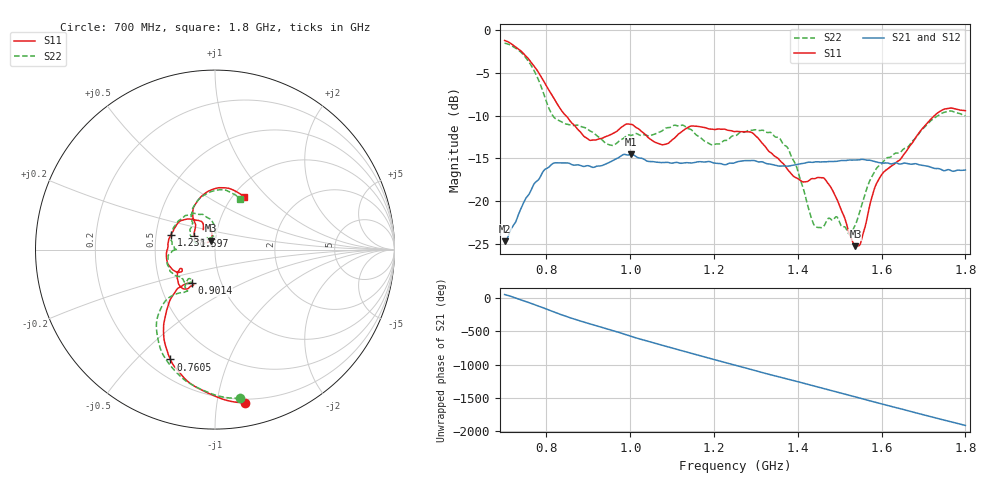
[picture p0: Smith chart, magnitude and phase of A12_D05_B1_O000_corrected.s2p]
! Created with skrf 1.9.0 (http://scikit-rf.org).
# Hz S RI R 50.0
!freq ReS11 ImS11 ReS21 ImS21 ReS12 ImS12 ReS22 ImS22
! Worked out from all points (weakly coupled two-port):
!   1601 points, 700 MHz to 1.8 GHz, reference 50 ohm
!   highest |S21| = -14.53 dB at 1.002 GHz (marker M1); lowest = -24.7 dB at 700 MHz (marker M2)
!   lowest |S11| = -25.3 dB at 1.537 GHz (marker M3), VSWR 1.12, Z = 47.6 + j4.72 ohm
!   |S11| at or under -10 dB: 846.1 MHz to 1.726 GHz (880.1 MHz wide, 68.4 % of centre)
!   |S22| runs from -23.9 to -1.5 dB; largest |S21 - S12| = 0.0035
!   S11 on the Smith chart (normalised r, x): 700 MHz: 0.17, -1.20; 760.5 MHz: 0.29, -0.63; 901.4 MHz: 0.72, -0.29; 1.238 GHz: 0.60, +0.11; 1.597 GHz: 0.79, +0.12; 1.8 GHz: 1.13, +0.75
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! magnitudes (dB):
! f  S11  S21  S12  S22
! 700 MHz  -1.2  -24.7  -24.5  -1.5
! 760.5 MHz  -3.6  -19.0  -18.9  -3.9
! 817.6 MHz  -8.0  -15.6  -15.7  -10.2
! 883.6 MHz  -12.1  -15.9  -15.8  -11.3
! 901.4 MHz  -12.8  -15.9  -15.9  -11.7
! 954.4 MHz  -12.2  -15.4  -15.4  -13.5
! 1.002 GHz  -11.0  -14.5  -14.6  -12.3
! 1.067 GHz  -13.3  -15.5  -15.4  -12.0
! 1.145 GHz  -11.2  -15.6  -15.6  -11.6
! 1.194 GHz  -11.6  -15.4  -15.4  -13.4
! 1.238 GHz  -11.7  -15.6  -15.7  -12.6
! 1.25 GHz  -11.9  -15.5  -15.4  -12.4
! 1.357 GHz  -15.2  -15.9  -15.8  -12.7
! 1.395 GHz  -17.3  -15.8  -15.7  -15.7
! 1.434 GHz  -17.4  -15.5  -15.4  -22.2
! 1.478 GHz  -18.3  -15.4  -15.4  -22.1
! 1.537 GHz  -25.3  -15.2  -15.2  -22.8
! 1.551 GHz  -24.7  -15.1  -15.2  -20.7
! 1.597 GHz  -17.2  -15.5  -15.5  -15.8
! 1.617 GHz  -16.1  -15.6  -15.6  -14.9
! 1.734 GHz  -9.7  -16.2  -16.2  -10.0
! 1.8 GHz  -9.4  -16.4  -16.4  -10.0
